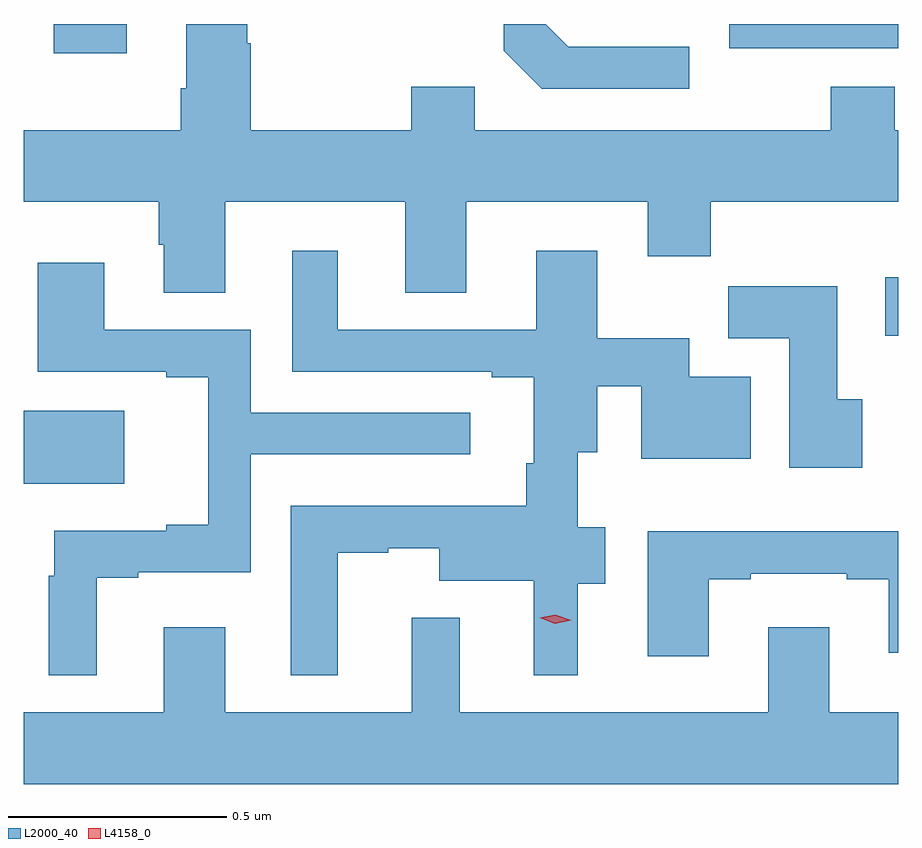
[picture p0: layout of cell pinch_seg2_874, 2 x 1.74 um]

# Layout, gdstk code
import gdstk
lib = gdstk.Library(unit=1e-6, precision=1e-09)
def R(c, l, rs):  # rectangles x0, y0, x1, y1
    for r in rs: c.add(gdstk.rectangle(r[:2], r[2:], *l))
def P(c, l, *ps):  # polygons
    for p in ps: c.add(gdstk.Polygon(p, *l))
L2000_40 = (2000, 40)
L4158_0 = (4158, 0)

pinch_seg2_874 = lib.new_cell('pinch_seg2_874')
R(pinch_seg2_874, L2000_40, [(836.832,587.051,837.061,587.218), (838.803,587.39,838.832,587.524), (836.9,588.036,837.067,588.103), (838.446,588.048,838.832,588.103)])
P(pinch_seg2_874, L2000_40, [(836.832,587.696),(837.14,587.696),(837.14,587.598),(837.152,587.598),(837.152,587.488),(837.292,587.488),(837.292,587.696),(837.704,587.696),(837.704,587.488),(837.844,587.488),(837.844,587.696),(838.259,587.696),(838.259,587.572),(838.403,587.572),(838.403,587.696),(838.832,587.696),(838.832,587.86),(838.825,587.86),(838.825,587.959),(838.678,587.959),(838.678,587.86),(837.864,587.86),(837.864,587.959),(837.718,587.959),(837.718,587.86),(837.351,587.86),(837.351,588.059),(837.343,588.059),(837.343,588.103),(837.203,588.103),(837.203,587.956),(837.191,587.956),(837.191,587.86),(836.832,587.86)],
  [(838.354,588.051),(838.077,588.051),(838.026,588.102),(838.026,588.103),(837.93,588.103),(837.93,588.042),(838.017,587.955),(838.354,587.955)],
  [(837.55,586.893),(837.666,586.893),(837.666,586.904),(837.782,586.904),(837.782,586.829),(837.998,586.829),(837.998,586.613),(838.099,586.613),(838.099,586.822),(838.162,586.822),(838.162,586.951),(838.099,586.951),(838.099,587.123),(838.144,587.123),(838.144,587.274),(838.244,587.274),(838.244,587.108),(838.495,587.108),(838.495,587.296),(838.354,587.296),(838.354,587.384),(838.144,587.384),(838.144,587.584),(838.004,587.584),(838.004,587.403),(837.55,587.403),(837.55,587.584),(837.446,587.584),(837.446,587.307),(837.902,587.307),(837.902,587.295),(837.998,587.295),(837.998,587.098),(837.981,587.098),(837.981,587.001),(837.443,587.001),(837.443,586.613),(837.55,586.613)],
  [(836.998,586.836),(837.094,586.836),(837.094,586.848),(837.351,586.848),(837.351,587.118),(837.853,587.118),(837.853,587.214),(837.351,587.214),(837.351,587.403),(837.016,587.403),(837.016,587.557),(836.864,587.557),(836.864,587.307),(837.158,587.307),(837.158,587.295),(837.254,587.295),(837.254,586.957),(837.158,586.957),(837.158,586.944),(836.901,586.944),(836.901,586.841),(836.889,586.841),(836.889,586.613),(836.998,586.613)],
  [(838.75,587.244),(838.693,587.244),(838.693,587.503),(838.444,587.503),(838.444,587.384),(838.583,587.384),(838.583,587.088),(838.75,587.088)],
  [(838.399,586.833),(838.495,586.833),(838.495,586.845),(838.715,586.845),(838.715,586.833),(838.811,586.833),(838.811,586.664),(838.832,586.664),(838.832,586.942),(838.259,586.942),(838.259,586.656),(838.399,586.656)],
  [(838.832,586.528),(838.675,586.528),(838.675,586.723),(838.535,586.723),(838.535,586.528),(837.829,586.528),(837.829,586.744),(837.719,586.744),(837.719,586.528),(837.292,586.528),(837.292,586.723),(837.152,586.723),(837.152,586.528),(836.832,586.528),(836.832,586.364),(838.832,586.364)])
P(pinch_seg2_874, L4158_0, [(838.047,586.731),(838.012,586.744),(838.012,586.744),(838.012,586.744),(838.048,586.751),(838.084,586.739),(838.084,586.739),(838.084,586.739)])

lib.write_gds('pinch_seg2_874.gds')
